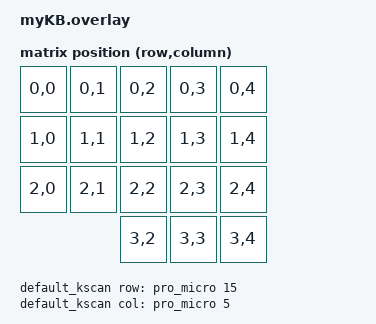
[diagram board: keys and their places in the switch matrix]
#include <dt-bindings/zmk/matrix-transform.h>

{
    chosen{
        zmk,kscan = &default_kscan;
        zmk,matrix_transform = &default_transform;
    };

    default_kscan: kscan{
        compatible = "zmk,kscan_gpio_matrix";
        label = "default_kscan";
        diode_direction = "col2row";

        row-gpios = <&pro_micro 15 (GPIO_ACTIVE_HIGH | GPIO_PULL_DOWN)>,
                    <>,
                    <>,
                    <>;

        col-gpios = <&pro_micro 5 GPIO_ACTIVE_HIGH>,
                    <>,
                    <>,
                    <>,
                    <>;
    };

    default_transform: matrix_transform{
        compatible = "zmk,matrix_transform";
        rows = <4>;
        columns = <5>;

        map = <
            RC(0,0) RC(0,1) RC(0,2) RC(0,3) RC(0,4)
            RC(1,0) RC(1,1) RC(1,2) RC(1,3) RC(1,4) 
            RC(2,0) RC(2,1) RC(2,2) RC(2,3) RC(2,4)
                            RC(3,2) RC(3,3) RC(3,4)
        >;
    };
}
